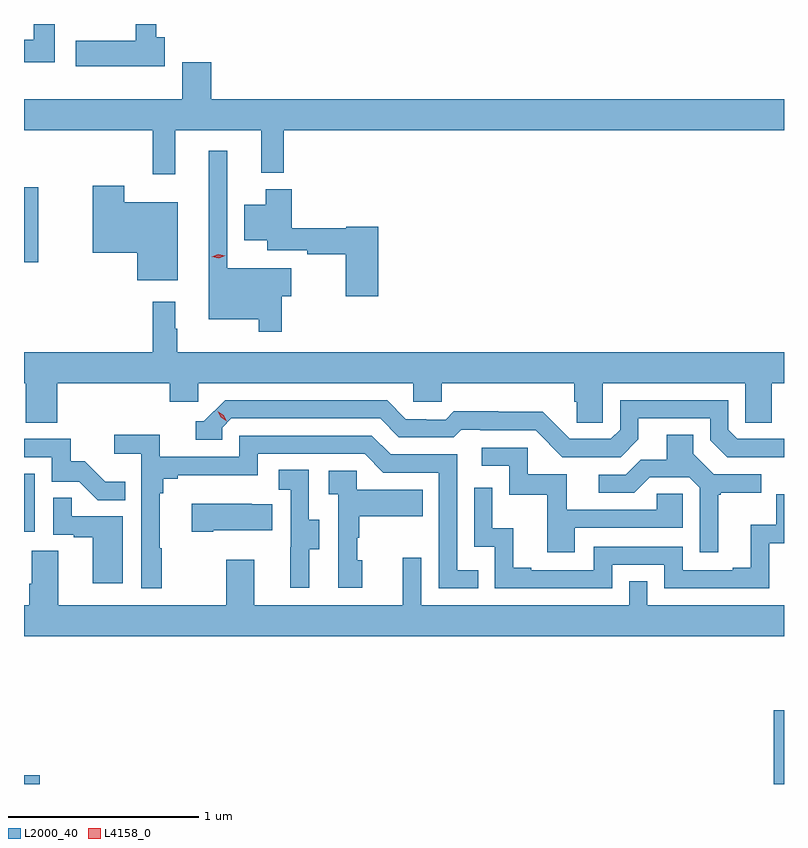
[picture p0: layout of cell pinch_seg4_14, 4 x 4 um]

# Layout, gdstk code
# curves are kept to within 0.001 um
import gdstk
lib = gdstk.Library(unit=1e-6, precision=1e-09)
def R(c, l, rs):  # rectangles x0, y0, x1, y1
    for r in rs: c.add(gdstk.rectangle(r[:2], r[2:], *l))
def P(c, l, *ps):  # polygons
    for p in ps: c.add(gdstk.Polygon(p, *l))
L2000_40 = (2000, 40)
L4158_0 = (4158, 0)

pinch_seg4_14 = lib.new_cell('pinch_seg4_14')
R(pinch_seg4_14, L2000_40, [(1113.811,821.351,1113.895,821.396), (1117.757,821.351,1117.811,821.74), (1113.811,822.678,1113.868,822.985), (1113.811,824.097,1113.886,824.491), (1114.115,825.35,1114.312,825.351)])
P(pinch_seg4_14, L2000_40, [(1114.552,825.282),(1114.507,825.282),(1114.507,825.351),(1114.4,825.351),(1114.4,825.262),(1114.083,825.262),(1114.083,825.128),(1114.552,825.128)],
  [(1113.973,825.351),(1113.863,825.351),(1113.863,825.268),(1113.811,825.268),(1113.811,825.15),(1113.973,825.15)],
  [(1114.607,824.792),(1115.06,824.792),(1115.06,824.567),(1115.177,824.567),(1115.177,824.792),(1117.811,824.792),(1117.811,824.956),(1114.796,824.956),(1114.796,825.151),(1114.643,825.151),(1114.643,824.956),(1113.811,824.956),(1113.811,824.792),(1114.489,824.792),(1114.489,824.559),(1114.607,824.559)],
  [(1115.167,823.918),(1115.218,823.918),(1115.218,824.065),(1114.881,824.065),(1114.881,824.683),(1114.784,824.683),(1114.784,823.796),(1115.046,823.796),(1115.046,823.731),(1115.167,823.731)],
  [(1114.621,824.413),(1114.338,824.413),(1114.338,824.5),(1114.172,824.5),(1114.172,824.147),(1114.406,824.147),(1114.406,824.003),(1114.621,824.003)],
  [(1115.675,824.284),(1115.508,824.284),(1115.508,824.276),(1115.219,824.276),(1115.219,824.482),(1115.084,824.482),(1115.084,824.401),(1114.97,824.401),(1114.97,824.213),(1115.09,824.213),(1115.09,824.16),(1115.302,824.16),(1115.302,824.14),(1115.504,824.14),(1115.504,823.917),(1115.675,823.917)],
  [(1113.986,823.46),(1114.577,823.46),(1114.577,823.362),(1114.728,823.362),(1114.728,823.46),(1115.859,823.46),(1115.859,823.362),(1116.009,823.362),(1116.009,823.46),(1116.707,823.46),(1116.707,823.362),(1116.721,823.362),(1116.721,823.252),(1116.858,823.252),(1116.858,823.46),(1117.608,823.46),(1117.608,823.252),(1117.747,823.252),(1117.747,823.46),(1117.811,823.46),(1117.811,823.624),(1114.618,823.624),(1114.618,823.748),(1114.606,823.748),(1114.606,823.888),(1114.489,823.888),(1114.489,823.624),(1113.811,823.624),(1113.811,823.46),(1113.821,823.46),(1113.821,823.252),(1113.986,823.252)],
  [(1117.811,823.167),(1117.566,823.167),(1117.518,823.215),(1117.518,823.371),(1116.948,823.371),(1116.948,823.215),(1116.9,823.167),(1116.684,823.167),(1116.542,823.309),(1116.306,823.309),(1116.306,823.312),(1116.073,823.312),(1116.031,823.269),(1115.928,823.269),(1115.928,823.272),(1115.821,823.272),(1115.722,823.371),(1114.869,823.371),(1114.758,823.26),(1114.715,823.26),(1114.715,823.164),(1114.854,823.164),(1114.854,823.227),(1114.902,823.275),(1115.685,823.275),(1115.784,823.176),(1116.073,823.176),(1116.112,823.215),(1116.211,823.215),(1116.211,823.212),(1116.504,823.212),(1116.645,823.071),(1116.951,823.071),(1117.045,823.165),(1117.045,823.275),(1117.422,823.275),(1117.422,823.161),(1117.512,823.071),(1117.811,823.07)],
  [(1114.537,822.593),(1114.525,822.593),(1114.525,822.881),(1114.544,822.881),(1114.544,822.958),(1114.621,822.958),(1114.621,822.977),(1115.04,822.977),(1115.04,823.089),(1115.604,823.089),(1115.703,822.99),(1115.994,822.99),(1115.994,822.381),(1116.203,822.381),(1116.203,822.477),(1116.09,822.477),(1116.09,823.086),(1115.74,823.086),(1115.641,823.185),(1114.944,823.185),(1114.944,823.074),(1114.526,823.074),(1114.526,823.19),(1114.287,823.19),(1114.287,823.088),(1114.428,823.088),(1114.428,822.381),(1114.537,822.381)],
  [(1117.465,822.873),(1117.477,822.873),(1117.477,822.884),(1117.69,822.884),(1117.69,822.981),(1117.44,822.981),(1117.333,823.088),(1117.333,823.19),(1117.193,823.19),(1117.193,823.058),(1117.058,823.058),(1116.978,822.978),(1116.837,822.978),(1116.837,822.885),(1117.024,822.885),(1117.105,822.966),(1117.311,822.966),(1117.368,822.909),(1117.368,822.57),(1117.465,822.57)],
  [(1114.343,822.943),(1114.239,822.943),(1114.132,823.05),(1114.056,823.05),(1114.056,823.167),(1113.811,823.167),(1113.811,823.071),(1113.957,823.071),(1113.957,822.942),(1114.101,822.942),(1114.199,822.844),(1114.343,822.844)],
  [(1116.709,822.699),(1117.278,822.699),(1117.278,822.879),(1117.141,822.879),(1117.141,822.795),(1116.667,822.795),(1116.667,822.981),(1116.462,822.981),(1116.462,823.122),(1116.219,823.122),(1116.219,823.026),(1116.366,823.026),(1116.366,822.873),(1116.565,822.873),(1116.565,822.57),(1116.709,822.57)],
  [(1115.311,822.586),(1115.365,822.586),(1115.365,822.741),(1115.31,822.741),(1115.31,823.004),(1115.151,823.004),(1115.151,822.901),(1115.214,822.901),(1115.214,822.597),(1115.213,822.597),(1115.213,822.384),(1115.311,822.384)],
  [(1115.59,822.528),(1115.565,822.528),(1115.565,822.647),(1115.575,822.647),(1115.575,822.761),(1115.909,822.761),(1115.909,822.901),(1115.562,822.901),(1115.562,822.999),(1115.415,822.999),(1115.415,822.875),(1115.466,822.875),(1115.466,822.384),(1115.59,822.384)],
  [(1116.906,822.504),(1117.182,822.504),(1117.182,822.381),(1117.734,822.381),(1117.734,822.617),(1117.811,822.617),(1117.811,822.876),(1117.77,822.876),(1117.77,822.715),(1117.637,822.715),(1117.637,822.49),(1117.541,822.49),(1117.541,822.477),(1117.278,822.477),(1117.278,822.6),(1116.81,822.6),(1116.81,822.477),(1116.481,822.477),(1116.481,822.49),(1116.386,822.49),(1116.386,822.698),(1116.276,822.698),(1116.276,822.91),(1116.18,822.91),(1116.18,822.6),(1116.288,822.6),(1116.288,822.381),(1116.906,822.381)],
  [(1114.33,822.759),(1114.061,822.759),(1114.061,822.857),(1113.966,822.857),(1113.966,822.663),(1114.073,822.663),(1114.073,822.651),(1114.172,822.651),(1114.172,822.408),(1114.33,822.408)],
  [(1114.807,822.686),(1115.117,822.686),(1115.117,822.823),(1115.009,822.823),(1115.009,822.826),(1114.695,822.826),(1114.695,822.679),(1114.807,822.679)],
  [(1117.811,822.292),(1117.092,822.292),(1117.092,822.419),(1116.996,822.419),(1116.996,822.292),(1115.901,822.292),(1115.901,822.541),(1115.804,822.541),(1115.804,822.292),(1115.023,822.292),(1115.023,822.532),(1114.876,822.532),(1114.876,822.292),(1113.991,822.292),(1113.991,822.578),(1113.851,822.578),(1113.851,822.404),(1113.839,822.404),(1113.839,822.292),(1113.811,822.292),(1113.811,822.128),(1117.811,822.128)])
P(pinch_seg4_14, L4158_0, [(1114.836,824.118),(1114.8,824.125),(1114.799,824.125),(1114.8,824.126),(1114.834,824.138),(1114.87,824.13),(1114.871,824.13),(1114.87,824.13)],
  [(1114.877,823.26),(1114.846,823.28),(1114.83,823.313),(1114.83,823.313),(1114.83,823.313),(1114.861,823.293),(1114.877,823.26),(1114.877,823.26)])

lib.write_gds('pinch_seg4_14.gds')
